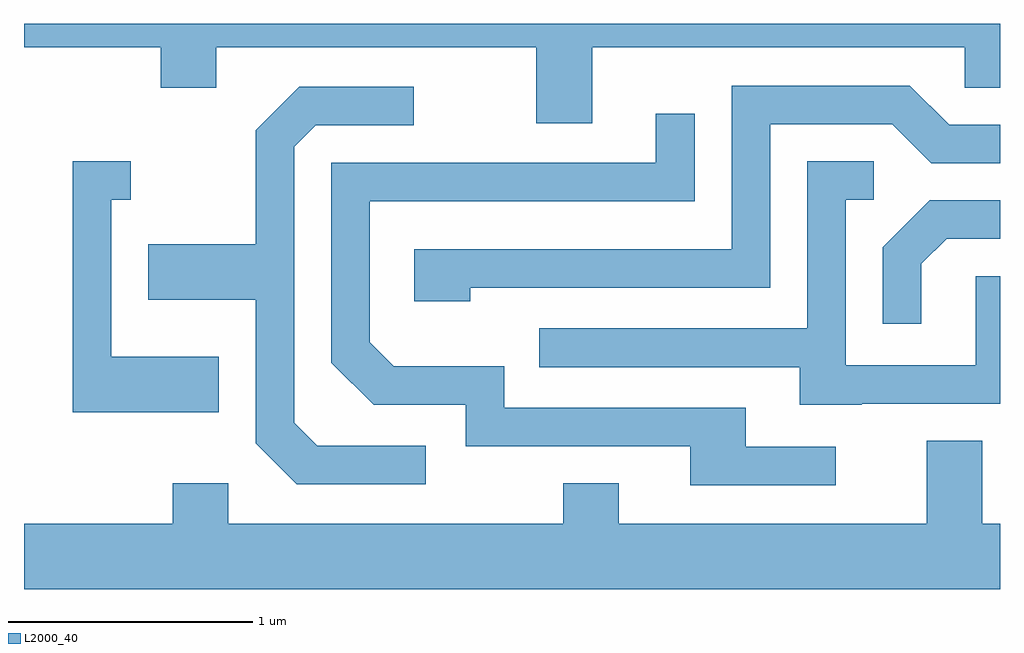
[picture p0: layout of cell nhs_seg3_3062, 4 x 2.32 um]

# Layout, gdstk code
import gdstk
lib = gdstk.Library(unit=1e-6, precision=1e-09)
def P(c, l, *ps):  # polygons
    for p in ps: c.add(gdstk.Polygon(p, *l))
L2000_40 = (2000, 40)

nhs_seg3_3062 = lib.new_cell('nhs_seg3_3062')
P(nhs_seg3_3062, L2000_40, [(277.939,1123.796),(279.466,1123.796),(279.466,1123.631),(279.611,1123.631),(279.611,1123.892),(275.611,1123.892),(275.611,1123.796),(276.171,1123.796),(276.171,1123.631),(276.399,1123.631),(276.399,1123.796),(277.711,1123.796),(277.711,1123.486),(277.939,1123.486)],
  [(277.439,1122.811),(278.669,1122.811),(278.669,1123.481),(279.169,1123.481),(279.329,1123.321),(279.611,1123.321),(279.611,1123.479),(279.402,1123.479),(279.242,1123.639),(278.511,1123.639),(278.511,1122.969),(277.211,1122.969),(277.211,1122.756),(277.439,1122.756)],
  [(277.258,1122.164),(276.812,1122.164),(276.719,1122.257),(276.719,1123.389),(276.807,1123.476),(277.208,1123.476),(277.208,1123.634),(276.739,1123.634),(276.561,1123.457),(276.561,1122.989),(276.121,1122.989),(276.121,1122.761),(276.561,1122.761),(276.561,1122.174),(276.729,1122.006),(277.258,1122.006)],
  [(278.938,1122.159),(278.569,1122.159),(278.569,1122.319),(277.579,1122.319),(277.579,1122.489),(277.127,1122.489),(277.029,1122.587),(277.029,1123.166),(278.359,1123.166),(278.359,1123.523),(278.201,1123.523),(278.201,1123.324),(276.871,1123.324),(276.871,1122.504),(277.044,1122.331),(277.421,1122.331),(277.421,1122.161),(278.341,1122.161),(278.341,1122.001),(278.938,1122.001)],
  [(279.045,1122.336),(279.611,1122.336),(279.611,1122.859),(279.511,1122.859),(279.511,1122.494),(278.979,1122.494),(278.979,1123.171),(279.093,1123.171),(279.093,1123.329),(278.821,1123.329),(278.821,1122.644),(277.723,1122.644),(277.723,1122.486),(278.791,1122.486),(278.791,1122.331),(279.045,1122.331)],
  [(276.409,1122.529),(275.969,1122.529),(275.969,1123.171),(276.048,1123.171),(276.048,1123.329),(275.811,1123.329),(275.811,1122.301),(276.409,1122.301)],
  [(279.289,1122.909),(279.392,1123.011),(279.611,1123.011),(279.611,1123.169),(279.324,1123.169),(279.131,1122.977),(279.131,1122.663),(279.289,1122.663)],
  [(279.611,1121.844),(279.539,1121.844),(279.539,1122.184),(279.311,1122.184),(279.311,1121.844),(278.049,1121.844),(278.049,1122.009),(277.821,1122.009),(277.821,1121.844),(276.449,1121.844),(276.449,1122.009),(276.221,1122.009),(276.221,1121.844),(275.611,1121.844),(275.611,1121.576),(279.611,1121.576)])

lib.write_gds('nhs_seg3_3062.gds')
